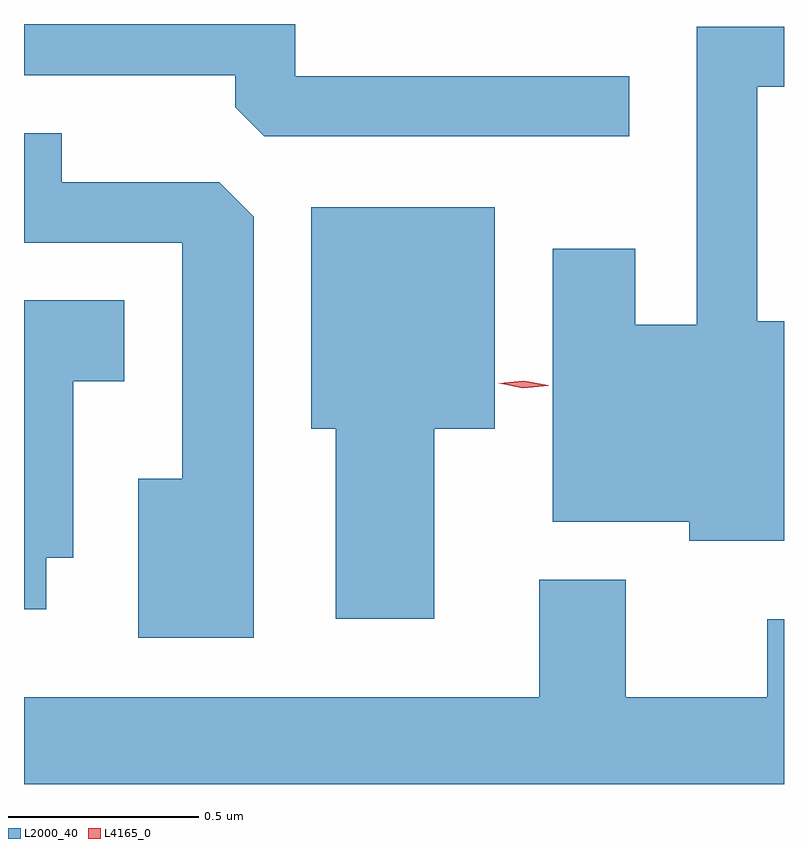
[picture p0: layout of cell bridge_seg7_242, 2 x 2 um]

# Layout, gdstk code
import gdstk
lib = gdstk.Library(unit=1e-6, precision=1e-09)
def P(c, l, *ps):  # polygons
    for p in ps: c.add(gdstk.Polygon(p, *l))
L2000_40 = (2000, 40)
L4165_0 = (4165, 0)

bridge_seg7_242 = lib.new_cell('bridge_seg7_242')
P(bridge_seg7_242, L2000_40, [(1779.838,1707.339),(1778.959,1707.339),(1778.959,1707.476),(1778.245,1707.476),(1778.245,1707.341),(1778.801,1707.341),(1778.801,1707.257),(1778.877,1707.181),(1779.838,1707.181)],
  [(1780.245,1706.694),(1780.174,1706.694),(1780.174,1707.311),(1780.245,1707.311),(1780.245,1707.469),(1780.016,1707.469),(1780.016,1706.684),(1779.854,1706.684),(1779.854,1706.884),(1779.636,1706.884),(1779.636,1706.166),(1779.996,1706.166),(1779.996,1706.116),(1780.245,1706.116)],
  [(1778.849,1706.969),(1778.759,1707.059),(1778.344,1707.059),(1778.344,1707.189),(1778.245,1707.189),(1778.245,1706.901),(1778.661,1706.901),(1778.661,1706.279),(1778.546,1706.279),(1778.546,1705.861),(1778.849,1705.861)],
  [(1779.324,1706.411),(1779.484,1706.411),(1779.484,1706.994),(1779.001,1706.994),(1779.001,1706.411),(1779.066,1706.411),(1779.066,1705.911),(1779.324,1705.911)],
  [(1778.304,1706.071),(1778.374,1706.071),(1778.374,1706.536),(1778.509,1706.536),(1778.509,1706.749),(1778.245,1706.749),(1778.245,1705.936),(1778.304,1705.936)],
  [(1780.245,1705.909),(1780.201,1705.909),(1780.201,1705.704),(1779.829,1705.704),(1779.829,1706.014),(1779.601,1706.014),(1779.601,1705.704),(1778.245,1705.704),(1778.245,1705.476),(1780.245,1705.476)])
P(bridge_seg7_242, L4165_0, [(1779.559,1706.517),(1779.494,1706.53),(1779.494,1706.53),(1779.494,1706.53),(1779.56,1706.537),(1779.625,1706.525),(1779.626,1706.525),(1779.625,1706.524)])

lib.write_gds('bridge_seg7_242.gds')
